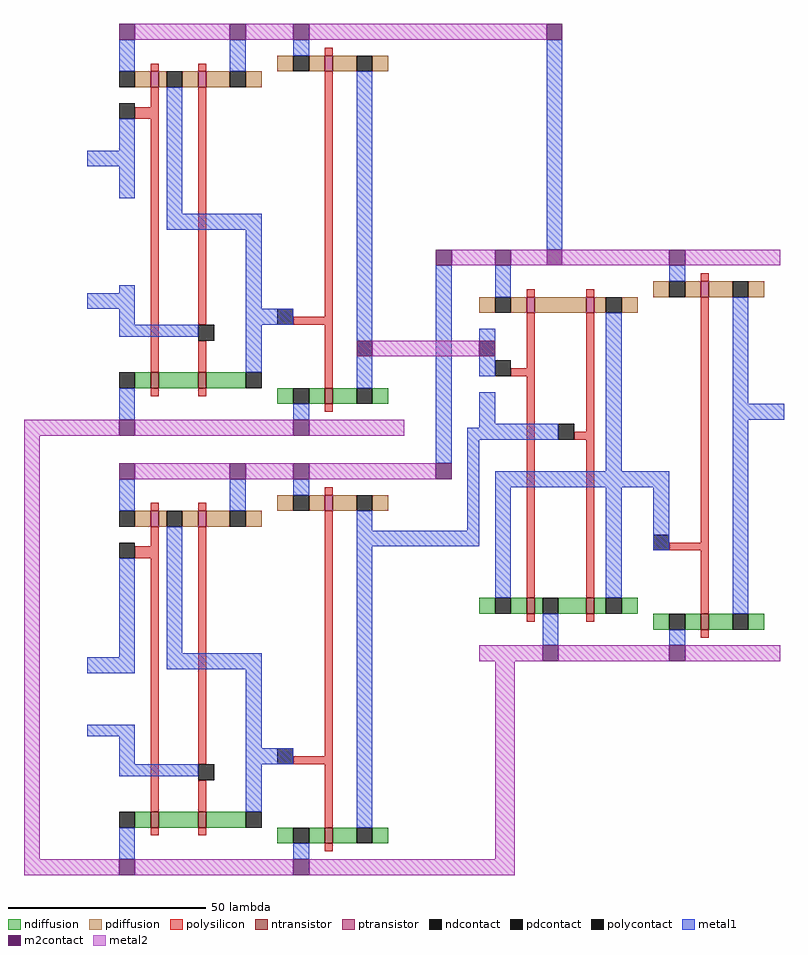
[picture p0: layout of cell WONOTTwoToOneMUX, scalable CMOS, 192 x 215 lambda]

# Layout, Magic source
magic
tech scmos
<< metal1 >>
rect -8 68 0 72
rect 108 47 112 100
rect -8 32 0 36
rect 80 -7 84 43
rect 159 4 168 8
rect 88 -24 91 2
rect 64 -28 91 -24
rect 0 -56 4 -51
rect -8 -60 4 -56
rect -8 -76 0 -73
<< metal2 >>
rect 72 100 108 104
rect 84 43 95 47
rect 64 20 91 24
rect -24 0 0 4
rect -24 -107 -20 0
rect 72 -11 80 -7
rect 95 -107 100 -57
rect -24 -111 0 -107
rect 72 -111 100 -107
<< m2contact >>
rect 108 100 112 104
rect 80 43 84 47
rect 108 43 112 47
rect 60 20 64 24
rect 91 20 95 24
rect 80 -11 84 -7
use and  and_0
transform 1 0 0 0 1 0
box 0 0 72 104
use and  and_1
transform 1 0 0 0 1 -111
box 0 0 72 104
use or  or_0
transform 1 0 91 0 1 -57
box 0 0 76 104
<< end >>

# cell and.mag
magic
tech scmos
<< metal1 >>
rect 36 28 44 32
use nand  nand_0
transform 1 0 -4 0 1 0
box 4 0 44 104
use not  not_0
transform 1 0 32 0 1 0
box 8 0 40 104
<< end >>

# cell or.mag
magic
tech scmos
<< metal1 >>
rect 40 44 48 48
rect 44 28 48 44
use nor  nor_0
transform 1 0 0 0 1 0
box 0 0 44 104
use not  not_0
transform 1 0 36 0 1 0
box 8 0 40 104
<< end >>

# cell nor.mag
magic
tech scmos
<< polysilicon >>
rect 12 92 14 94
rect 27 92 29 94
rect 12 74 14 88
rect 8 72 14 74
rect 12 16 14 72
rect 27 58 29 88
rect 24 56 29 58
rect 27 16 29 56
rect 12 10 14 12
rect 27 10 29 12
<< ndiffusion >>
rect 0 12 4 16
rect 8 12 12 16
rect 14 12 16 16
rect 20 12 27 16
rect 29 12 32 16
rect 36 12 40 16
<< pdiffusion >>
rect 0 88 4 92
rect 8 88 12 92
rect 14 88 27 92
rect 29 88 32 92
rect 36 88 40 92
<< metal1 >>
rect 4 92 8 100
rect 0 72 4 84
rect 0 60 4 68
rect 0 56 20 60
rect 32 48 36 88
rect 4 44 44 48
rect 4 16 8 44
rect 32 16 36 44
rect 16 4 20 12
<< metal2 >>
rect 0 100 4 104
rect 8 100 44 104
rect 0 0 16 4
rect 20 0 44 4
<< ntransistor >>
rect 12 12 14 16
rect 27 12 29 16
<< ptransistor >>
rect 12 88 14 92
rect 27 88 29 92
<< polycontact >>
rect 4 72 8 76
rect 20 56 24 60
<< ndcontact >>
rect 4 12 8 16
rect 16 12 20 16
rect 32 12 36 16
<< pdcontact >>
rect 4 88 8 92
rect 32 88 36 92
<< m2contact >>
rect 4 100 8 104
rect 16 0 20 4
<< labels >>
rlabel metal2 2 102 2 102 4 vdd
rlabel metal1 2 82 2 82 3 a
rlabel metal1 2 66 2 66 3 b
rlabel metal1 42 46 42 46 7 o
rlabel metal2 2 2 2 2 2 gnd
<< end >>

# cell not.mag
magic
tech scmos
<< polysilicon >>
rect 20 96 22 98
rect 20 30 22 92
rect 12 28 22 30
rect 20 12 22 28
rect 20 6 22 8
<< ndiffusion >>
rect 8 8 12 12
rect 16 8 20 12
rect 22 8 28 12
rect 32 8 36 12
<< pdiffusion >>
rect 8 92 12 96
rect 16 92 20 96
rect 22 92 28 96
rect 32 92 36 96
<< metal1 >>
rect 12 96 16 100
rect 28 12 32 92
rect 12 4 16 8
<< metal2 >>
rect 8 100 12 104
rect 16 100 40 104
rect 8 0 12 4
rect 16 0 40 4
<< ntransistor >>
rect 20 8 22 12
<< ptransistor >>
rect 20 92 22 96
<< polycontact >>
rect 8 28 12 32
<< ndcontact >>
rect 12 8 16 12
rect 28 8 32 12
<< pdcontact >>
rect 12 92 16 96
rect 28 92 32 96
<< m2contact >>
rect 12 100 16 104
rect 12 0 16 4
<< end >>

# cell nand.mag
magic
tech scmos
<< polysilicon >>
rect 12 92 14 94
rect 24 92 26 94
rect 12 83 14 88
rect 8 80 14 83
rect 12 16 14 80
rect 24 28 26 88
rect 24 16 26 24
rect 12 10 14 12
rect 24 10 26 12
<< ndiffusion >>
rect 8 12 12 16
rect 14 12 24 16
rect 26 12 36 16
<< pdiffusion >>
rect 8 88 12 92
rect 14 88 16 92
rect 20 88 24 92
rect 26 88 32 92
rect 36 88 40 92
<< metal1 >>
rect 4 92 8 100
rect 32 92 36 100
rect 4 60 8 80
rect 16 56 20 88
rect 16 52 40 56
rect 4 28 8 38
rect 4 25 24 28
rect 36 16 40 52
rect 4 4 8 12
<< metal2 >>
rect 8 100 32 104
rect 36 100 44 104
rect 8 0 44 4
<< ntransistor >>
rect 12 12 14 16
rect 24 12 26 16
<< ptransistor >>
rect 12 88 14 92
rect 24 88 26 92
<< polycontact >>
rect 4 80 8 84
rect 24 24 28 28
<< ndcontact >>
rect 4 12 8 16
rect 36 12 40 16
<< pdcontact >>
rect 4 88 8 92
rect 16 88 20 92
rect 32 88 36 92
<< m2contact >>
rect 4 100 8 104
rect 32 100 36 104
rect 4 0 8 4
<< end >>
